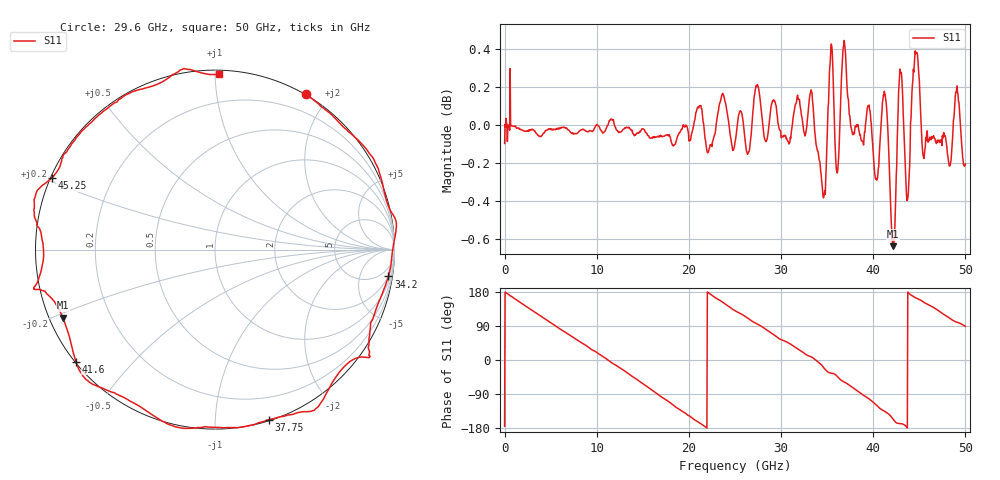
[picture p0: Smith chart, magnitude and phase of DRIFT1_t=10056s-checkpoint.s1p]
!Created with skrf (http://scikit-rf.org).
# Hz S RI R 50.0
!freq ReS11 ImS11
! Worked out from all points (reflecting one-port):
!   1001 points, 300 kHz to 50 GHz, reference 50 ohm
!   lowest |S11| = -0.6 dB at 42.15 GHz (marker M1), VSWR 27.18, Z = 1.92 - j10.6 ohm
!   phase of S11 starts at -175 deg and turns -817 deg over the sweep
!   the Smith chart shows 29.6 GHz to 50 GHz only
!   S11 on the Smith chart (normalised r, x): 29.6 GHz: -0.01, +1.74; 34.2 GHz: 2, -13; 37.75 GHz: 0.01, -1.37; 41.6 GHz: 0.00, -0.35; 45.25 GHz: 0.00, +0.21; 50 GHz: 0.02, +1.02
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300000  -0.9847 -0.0895
1.500291e9  -0.9059 0.4186
3.30028e9  -0.5805 0.8095
6.250262e9  0.2026 0.9776
9.500243e9  0.8923 0.4426
1.250022e10  0.9322 -0.3494
1.580021e10  0.2373 -0.9631
1.74002e10  -0.2237 -0.9679
1.875019e10  -0.5981 -0.7924
2.150017e10  -0.9934 -0.1487
2.350016e10  -0.9222 0.4273
2.500015e10  -0.6353 0.7588
2.735014e10  -0.1052 1.018
2.960012e10  0.5073 0.8675
3.125011e10  0.7864 0.6197
3.31001e10  1.002 0.177
3.420009e10  0.9666 -0.1494
3.520009e10  0.8574 -0.5576
3.750008e10  0.3754 -0.9301
3.775007e10  0.3024 -0.9474
3.955006e10  -0.2196 -0.9878
4.160005e10  -0.7749 -0.6244
4.215005e10  -0.8485 -0.3783
4.290004e10  -1.011 -0.2202
4.375004e10  -0.9565 0.0102
4.525003e10  -0.9108 0.3991
4.775001e10  -0.4792 0.8699
5e10  0.023 0.9762
